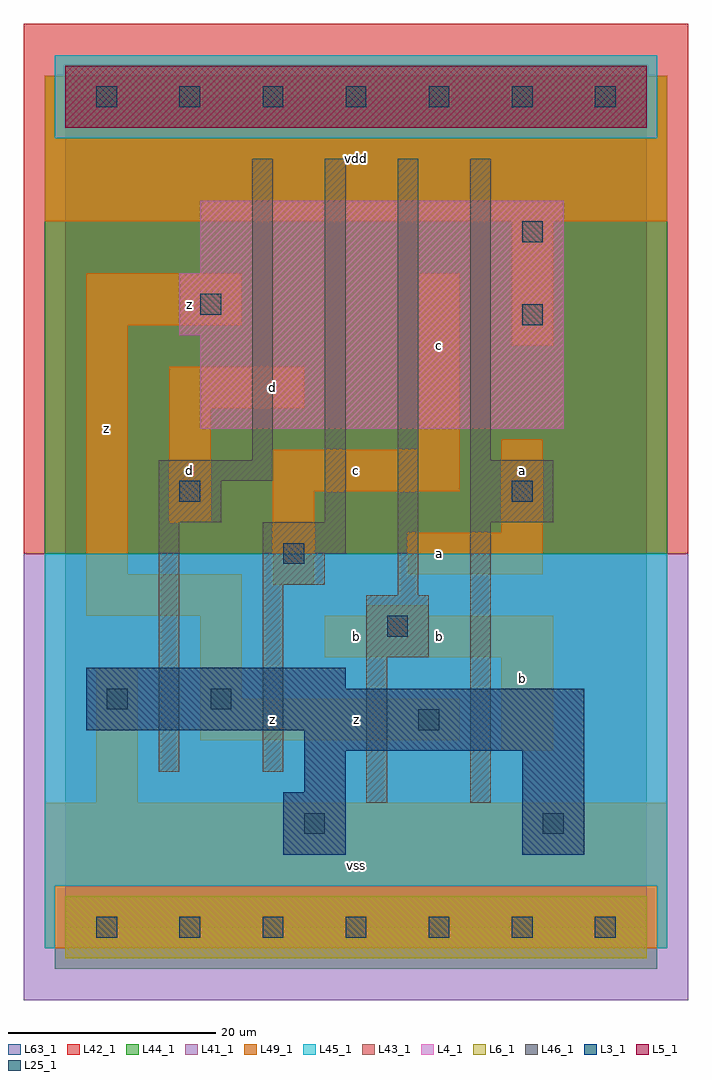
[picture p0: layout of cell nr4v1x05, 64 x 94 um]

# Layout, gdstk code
import gdstk
lib = gdstk.Library(unit=1e-6, precision=1e-09)
def R(c, l, rs):  # rectangles x0, y0, x1, y1
    for r in rs: c.add(gdstk.rectangle(r[:2], r[2:], *l))
def A(c, l, x, y, w, h, nx, ny, dx, dy):  # array of equal rectangles
    R(c, l, [(x+i*dx, y+j*dy, x+i*dx+w, y+j*dy+h) for i in range(nx) for j in range(ny)])
L3_1 = (3, 1)
L4_1 = (4, 1)
L5_1 = (5, 1)
L6_1 = (6, 1)
L25_1 = (25, 1)
L41_1 = (41, 1)
L42_1 = (42, 1)
L43_1 = (43, 1)
L44_1 = (44, 1)
L45_1 = (45, 1)
L46_1 = (46, 1)
L49_1 = (49, 1)
L63_1 = (63, 1)

nr4v1x05 = lib.new_cell('nr4v1x05')
R(nr4v1x05, L3_1, [(21,7,27,13), (44,7,50,17), (23,13,27,17), (23,17,50,19), (2,19,50,23), (2,23,27,25)])
R(nr4v1x05, L4_1, [(13,48,48,57), (11,57,48,63), (13,63,48,70)])
R(nr4v1x05, L5_1, [(0,77,56,83)])
R(nr4v1x05, L6_1, [(0,-3,56,3), (0,-3,56,3)])
A(nr4v1x05, L25_1, 3, -1, 2, 2, 7, 2, 8, 80)
R(nr4v1x05, L25_1, [(23,9,25,11), (46,9,48,11), (34,19,36,21), (4,21,6,23), (14,21,16,23), (31,28,33,30), (21,35,23,37), (11,41,13,43), (43,41,45,43), (44,58,46,60), (13,59,15,61), (44,66,46,68)])
R(nr4v1x05, L41_1, [(-4,-7,60,36)])
R(nr4v1x05, L42_1, [(-4,36,60,87)])
R(nr4v1x05, L43_1, [(0,-3,56,3), (21,7,27,13), (44,7,50,17), (23,13,27,17), (23,17,50,19), (2,19,50,23), (2,23,27,25), (13,48,48,57), (11,57,48,63), (13,63,48,70), (0,77,56,83)])
R(nr4v1x05, L44_1, [(-1,-4,57,4), (-2,36,58,76), (-2,76,-1,82), (57,76,58,82)])
R(nr4v1x05, L45_1, [(-2,-2,-1,4), (57,-2,58,4), (-2,4,58,36), (-1,76,57,84)])
R(nr4v1x05, L46_1, [(29,12,31,26), (39,12,41,39), (9,15,11,39), (19,15,21,33), (29,26,35,32), (32,32,34,74), (19,33,25,36), (19,36,27,39), (9,39,15,43), (25,39,27,74), (39,39,47,45), (9,43,20,45), (18,45,20,74), (39,45,41,74)])
R(nr4v1x05, L49_1, [(-2,-2,58,12), (3,12,7,25), (42,17,47,26), (13,18,38,22), (13,22,17,30), (25,26,47,30), (2,30,17,34), (29,30,35,31), (20,33,24,42), (2,34,6,58), (33,34,46,38), (42,38,46,47), (10,39,14,50), (20,42,38,46), (34,46,38,63), (10,50,23,54), (43,56,47,68), (2,58,17,63), (-2,68,58,82)])
R(nr4v1x05, L63_1, [(0,0,56,80)])
nr4v1x05.add(gdstk.Label('z', (4,48), layer=49, texttype=1))
nr4v1x05.add(gdstk.Label('d', (12,44), layer=49, texttype=1))
nr4v1x05.add(gdstk.Label('z', (12,60), layer=49, texttype=1))
nr4v1x05.add(gdstk.Label('vss', (28,6), layer=49, texttype=1))
nr4v1x05.add(gdstk.Label('z', (20,20), layer=49, texttype=1))
nr4v1x05.add(gdstk.Label('z', (28,20), layer=49, texttype=1))
nr4v1x05.add(gdstk.Label('b', (28,28), layer=49, texttype=1))
nr4v1x05.add(gdstk.Label('c', (28,44), layer=49, texttype=1))
nr4v1x05.add(gdstk.Label('d', (20,52), layer=49, texttype=1))
nr4v1x05.add(gdstk.Label('vdd', (28,74), layer=49, texttype=1))
nr4v1x05.add(gdstk.Label('b', (36,28), layer=49, texttype=1))
nr4v1x05.add(gdstk.Label('b', (44,24), layer=49, texttype=1))
nr4v1x05.add(gdstk.Label('a', (36,36), layer=49, texttype=1))
nr4v1x05.add(gdstk.Label('a', (44,44), layer=49, texttype=1))
nr4v1x05.add(gdstk.Label('c', (36,56), layer=49, texttype=1))

lib.write_gds('nr4v1x05.gds')
